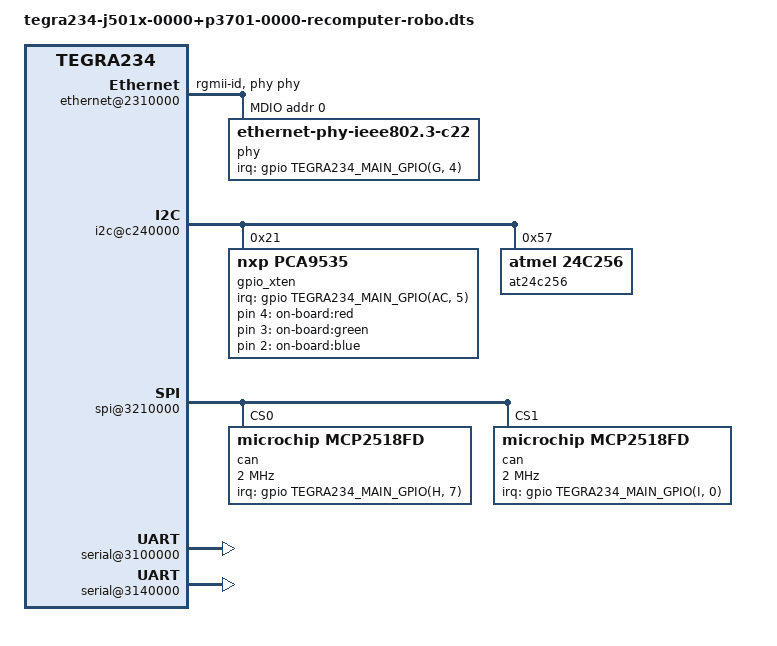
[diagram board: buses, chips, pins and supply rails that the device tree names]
// SPDX-License-Identifier: GPL-2.0-only
// SPDX-FileCopyrightText: Copyright (c) 2023, NVIDIA CORPORATION & AFFILIATES.  All rights reserved.

/dts-v1/;

#include "tegra234-j501x-0000+p3701-0000.dts"
#include "tegra234-p3737-0000+p3701-xxxx-nv-common.dtsi"
#include "tegra234-p3701-0000.dtsi"

#include <dt-bindings/net/ti-dp83867.h>
/ {
	aliases {
		serial4 = "/bus@0/serial@3140000";
	};
	
	leds {
		status = "okay";
		compatible = "gpio-leds";
		
		led_red {
			label = "on-board:red";
			gpios = <&gpio_xten 4 GPIO_ACTIVE_HIGH>;
			linux,default-trigger = "none";
			default-state = "off";
		};
		
		led_green {
			label = "on-board:green";
			gpios = <&gpio_xten 3 GPIO_ACTIVE_HIGH>;
			linux,default-trigger = "none";
			default-state = "off";
		};
		
		led_blue {
			label = "on-board:blue";
			gpios = <&gpio_xten 2 GPIO_ACTIVE_HIGH>;
			linux,default-trigger = "none";
			default-state = "off";
		};
	};
	
	bus@0 {
		
		//Gigabit Ethernet
		ethernet@2310000 {
			status = "okay";
			nvidia,mac-addr-idx = <1>;
			nvidia,max-platform-mtu = <8000>;
			nvidia,pause_frames = <0>;
			nvidia,phy-reset-gpio = <&gpio TEGRA234_MAIN_GPIO(G, 5) 0>;
			phy-handle = <&phy>;
			phy-mode = "rgmii-id";
			
			mdio {
				compatible = "nvidia,eqos-mdio";
				#address-cells = <1>;
				#size-cells = <0>;
				phy: phy@0 {
					reg = <0>;
					compatible = "ethernet-phy-ieee802.3-c22";
					tx-fifo-depth = <DP83867_PHYCR_FIFO_DEPTH_4_B_NIB>;
					rx-fifo-depth = <DP83867_PHYCR_FIFO_DEPTH_4_B_NIB>;
					ti,max-output-impedance;
					//	ti,clk-output-sel = <DP83867_CLK_O_SEL_CHN_A_RCLK>;
					ti,rx-internal-delay = <DP83867_RGMIIDCTL_2_75_NS>;
					ti,tx-internal-delay = <DP83867_RGMIIDCTL_2_75_NS>;
					interrupt-parent = <&gpio>;
					interrupts = <TEGRA234_MAIN_GPIO(G, 4) IRQ_TYPE_LEVEL_LOW>;//<TODO> Need to check
				};
			};
		};
		
		i2c@c240000 {
			status = "okay";
			gpio_xten: gpio_xten@21 {
				compatible = "nxp,pca9535";
				reg = <0x21>;
				gpio-controller;
				#gpio-cells = <2>;
				
				interrupt-controller;
				#interrupt-cells=<2>;
				
				interrupt-parent = <&gpio>;
				interrupts = <TEGRA234_MAIN_GPIO(AC, 5) IRQ_TYPE_EDGE_FALLING>;
				
				gpio-line-names =
				"UART1_EN"			,"M2B_P_OFF_N",
				"USR_LED_BLUE"		,"USR_LED_GREEN",
				"USR_LED_RED"		,"CAM1_VDD_EN",
				"M2B_W_DIS1_N"		,"M2B_PCIe_RST_N",
				"CAN1_120R_EN"		,"CAN0_120R_EN",
				"CAN2_120R_EN"		,"PCIe_ETH_RST",
				"CAN3_120R_EN"		,"USB_HUB_RST_N",
				"CAM0_VDD_EN"		,"UART2_EN";
				
				gpio-line-offsets = <0>, <1>, <2>, <3>, <4>, <5>, <6>, <7>, <8>, <9>, <10>, <11>, <12>, <13>, <14>, <15>;
				
				UART1_EN {
					gpios = <&gpio_xten 0 GPIO_ACTIVE_HIGH>;
					output-high;
					line-name = "UART1_EN";
				};
				
				CAN1_120R_EN {
					gpios = <&gpio_xten 8 GPIO_ACTIVE_HIGH>;
					output-high;
					line-name = "CAN1_120R_EN";
				};
				
				CAN0_120R_EN {
					gpios = <&gpio_xten 9 GPIO_ACTIVE_HIGH>;
					output-high;
					line-name = "CAN0_120R_EN";
				};
				
				CAN2_120R_EN {
					gpios = <&gpio_xten 10 GPIO_ACTIVE_HIGH>;
					output-high;
					line-name = "CAN2_120R_EN";
				};
				
				CAN3_120R_EN {
					gpios = <&gpio_xten 12 GPIO_ACTIVE_HIGH>;
					output-high;
					line-name = "CAN3_120R_EN";
				};
				
				UART2_EN {
					gpios = <&gpio_xten 15 GPIO_ACTIVE_HIGH>;
					output-high;
					line-name = "UART2_EN";
				};
			};
			
			at24c256: eeprom@57 {
				compatible = "atmel,24c256";
				reg = <0x57>;
			};
		};
		
		//CAN0
		mttcan@c310000 {
			status = "okay";
		};
		
		//CAN1
		mttcan@c320000 {
			status = "okay";
		};
		
		can_clock: can_clock {
			compatible = "fixed-clock";
			#clock-cells = <0>;
			clock-frequency = <40000000>;
			clock-accuracy = <100>;
		};
		
		spi@3210000 {
			#address-cells = <0x01>;
			#size-cells = <0x00>;
			
			status = "okay";
			
			can@2 {
				compatible = "microchip,mcp2518fd";
				reg = <0x0>;
				spi-max-frequency = <2000000>;
				interrupt-parent = <&gpio>;
				interrupts = <TEGRA234_MAIN_GPIO(H, 7) IRQ_TYPE_LEVEL_LOW>;
				clocks = <&can_clock>;
				nvidia,enable-hw-based-cs;
				controller-data {
					nvidia,enable-hw-based-cs;
					nvidia,rx-clk-tap-delay = <0x10>;
					nvidia,tx-clk-tap-delay = <0x0>;
				};
			};
			
			can@3 {
				compatible = "microchip,mcp2518fd";
				reg = <0x1>;
				spi-max-frequency = <2000000>;
				interrupt-parent = <&gpio>;
				interrupts = <TEGRA234_MAIN_GPIO(I, 0) IRQ_TYPE_LEVEL_LOW>;
				clocks = <&can_clock>;
				nvidia,enable-hw-based-cs;
				controller-data {
					nvidia,enable-hw-based-cs;
					nvidia,rx-clk-tap-delay = <0x10>;
					nvidia,tx-clk-tap-delay = <0x0>;
				};
			};
		};
		
		/// ttyTHS1
		serial@3100000 {
			compatible = "nvidia,tegra194-hsuart";
			reset-names = "serial";
			rs485-de-gpios = <&gpio TEGRA234_MAIN_GPIO(R, 4) GPIO_ACTIVE_LOW>;
			status = "okay";
			/delete-property/ dmas;
			/delete-property/ dma-names;
		};
		
		/// ttyTHS4
		serial@3140000 {
			compatible = "nvidia,tegra194-hsuart";
			reset-names = "serial";
			rs485-de-gpios = <&gpio TEGRA234_MAIN_GPIO(Y, 7) GPIO_ACTIVE_LOW>;
			status = "okay";
			/delete-property/ dmas;
			/delete-property/ dma-names;
		};
	};
};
